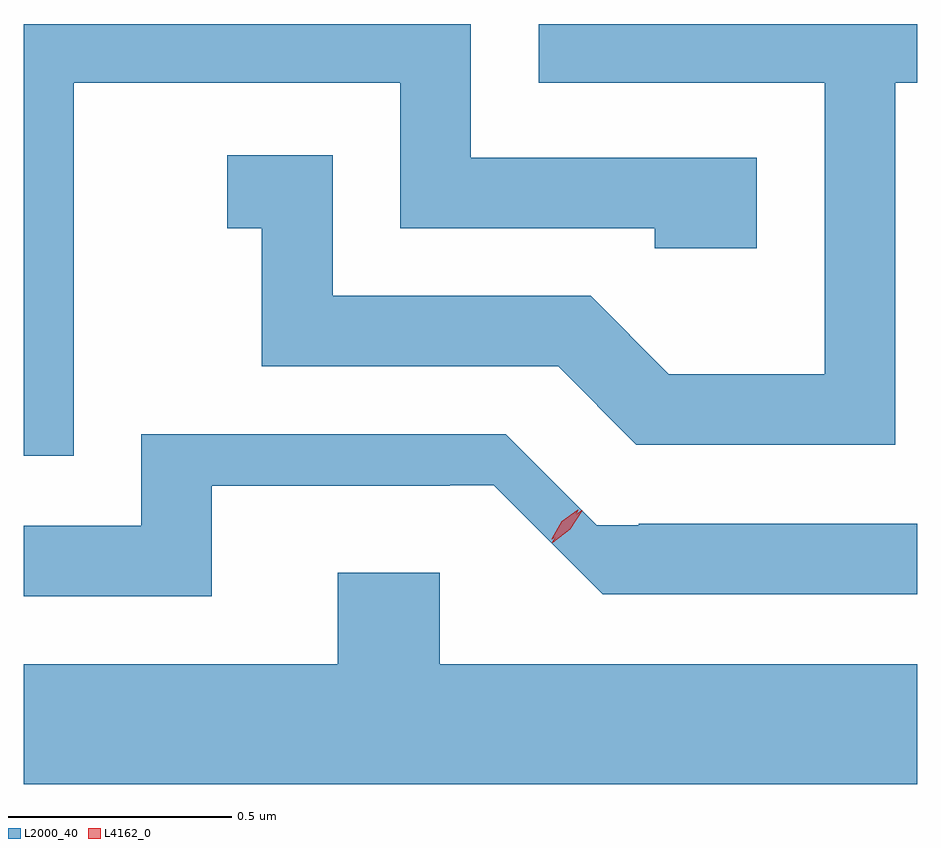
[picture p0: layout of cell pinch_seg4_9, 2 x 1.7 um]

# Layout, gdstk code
import gdstk
lib = gdstk.Library(unit=1e-6, precision=1e-09)
def P(c, l, *ps):  # polygons
    for p in ps: c.add(gdstk.Polygon(p, *l))
L2000_40 = (2000, 40)
L4162_0 = (4162, 0)

pinch_seg4_9 = lib.new_cell('pinch_seg4_9')
P(pinch_seg4_9, L2000_40, [(861.179,1322.946),(861.228,1322.946),(861.228,1323.078),(860.381,1323.078),(860.381,1322.946),(861.021,1322.946),(861.021,1322.294),(860.672,1322.294),(860.497,1322.469),(859.919,1322.469),(859.919,1322.784),(859.683,1322.784),(859.683,1322.621),(859.761,1322.621),(859.761,1322.311),(860.424,1322.311),(860.599,1322.136),(861.179,1322.136)],
  [(859.339,1322.946),(860.071,1322.946),(860.071,1322.621),(860.641,1322.621),(860.641,1322.576),(860.869,1322.576),(860.869,1322.779),(860.229,1322.779),(860.229,1323.078),(859.228,1323.078),(859.228,1322.111),(859.339,1322.111)],
  [(859.649,1322.044),(860.182,1322.044),(860.182,1322.045),(860.28,1322.045),(860.524,1321.801),(861.228,1321.801),(861.228,1321.959),(860.605,1321.959),(860.605,1321.955),(860.511,1321.955),(860.307,1322.159),(859.491,1322.159),(859.491,1321.954),(859.228,1321.954),(859.228,1321.796),(859.649,1321.796)],
  [(861.228,1321.644),(860.159,1321.644),(860.159,1321.849),(859.931,1321.849),(859.931,1321.644),(859.228,1321.644),(859.228,1321.376),(861.228,1321.376)])
P(pinch_seg4_9, L4162_0, [(860.41,1321.924),(860.41,1321.925),(860.432,1321.964),(860.468,1321.99),(860.469,1321.99),(860.469,1321.989),(860.447,1321.95),(860.411,1321.924)],
  [(860.411,1321.916),(860.411,1321.917),(860.437,1321.959),(860.477,1321.989),(860.478,1321.989),(860.478,1321.988),(860.451,1321.946),(860.412,1321.916)])

lib.write_gds('pinch_seg4_9.gds')
